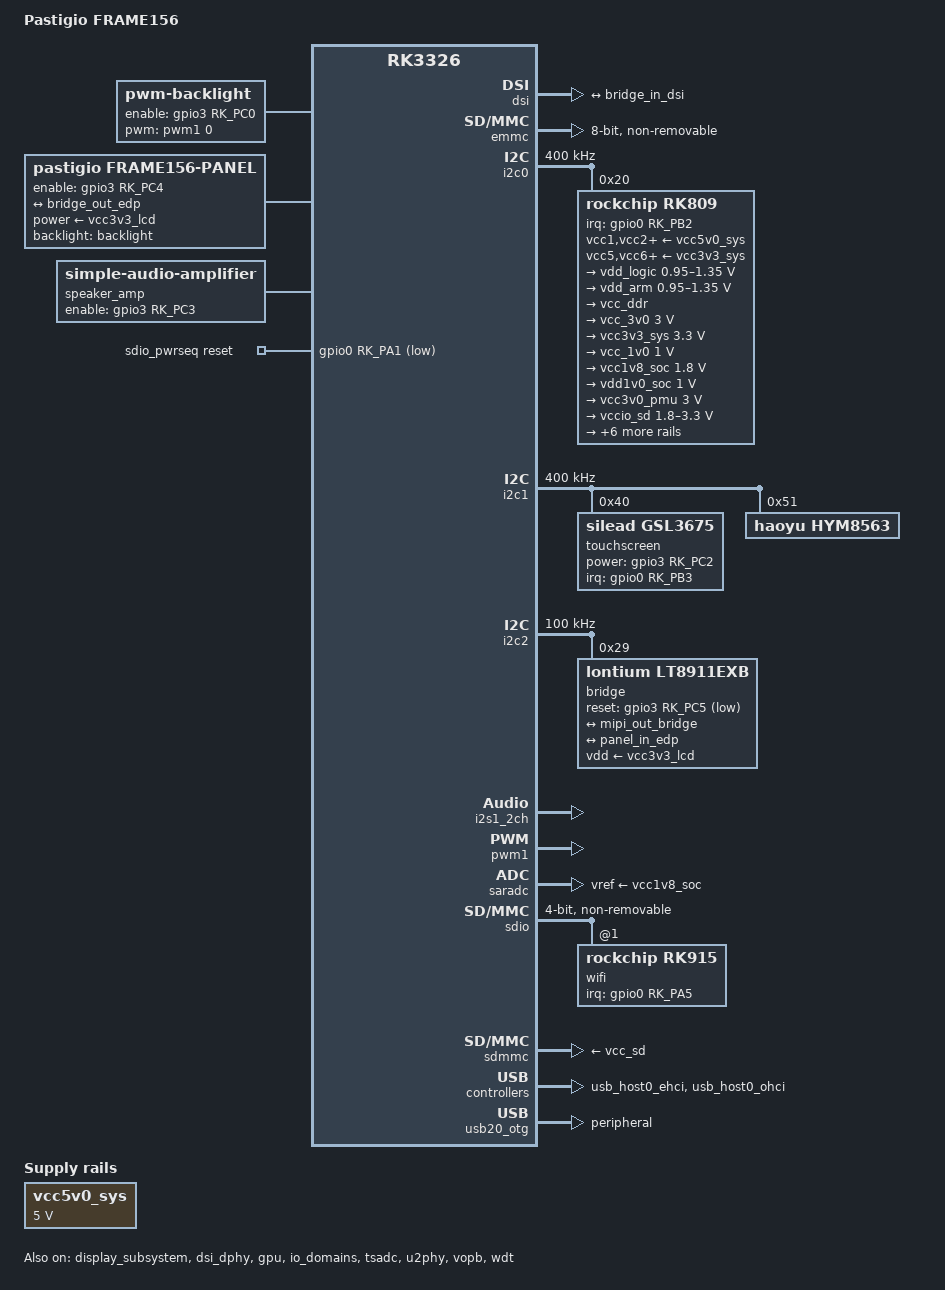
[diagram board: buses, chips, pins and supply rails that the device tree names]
// SPDX-License-Identifier: (GPL-2.0+ OR MIT)
/*
 * Pastigio FRAME156 15.6" photo frame (Frameo), RK3326.
 *
 * Derived from the stock Android device tree (see docs/hardware.md) and
 * the upstream rk3326-odroid-go board files.
 *
 * Bring-up notes:
 * - eMMC is limited to high speed (no HS200) until HS200 is verified.
 * - The display is DSI -> Lontium LT8911EXB (our driver, patch 0005) ->
 *   eDP panel (panel-edp, patch 0001). The bridge must be programmed with
 *   the DSI host's own timings. vcc3v3_lcd stays on while bring-up
 *   continues.
 * - The gpioN aliases are needed by the vendor U-Boot's PMIC driver when
 *   it runs from this device tree (recovery test images).
 * - ramoops matches the stock Android layout exactly, so Android can read
 *   back a failed boot's log from /sys/fs/pstore.
 */

/dts-v1/;
#include <dt-bindings/gpio/gpio.h>
#include <dt-bindings/interrupt-controller/irq.h>
#include <dt-bindings/pinctrl/rockchip.h>
#include "rockchip/rk3326.dtsi"

/ {
	model = "Pastigio FRAME156";
	compatible = "pastigio,frame156", "rockchip,rk3326";

	aliases {
		/*
		 * The vendor U-Boot finds GPIO controllers by "gpioN" in the
		 * node name or aliases. Mainline names them gpio@..., so
		 * without these its PMIC driver fails to probe whenever it
		 * runs from this DTB (and it then drops into download mode).
		 */
		gpio0 = &gpio0;
		gpio1 = &gpio1;
		gpio2 = &gpio2;
		gpio3 = &gpio3;
		mmc0 = &emmc;
		mmc1 = &sdmmc;
		mmc2 = &sdio;
		rtc0 = &hym8563;
	};

	chosen {
	};

	reserved-memory {
		#address-cells = <2>;
		#size-cells = <2>;
		ranges;

		/* Same location and layout as stock Android's ramoops */
		ramoops@110000 {
			compatible = "ramoops";
			reg = <0x0 0x00110000 0x0 0xf0000>;
			record-size = <0x20000>;
			console-size = <0x80000>;
			pmsg-size = <0x50000>;
		};

		/* U-Boot's boot logo buffer (1920x1080 24-bpp BMP) */
		drm_logo: framebuffer@3df00000 {
			reg = <0x0 0x3df00000 0x0 0x600000>;
			no-map;
		};
	};

	backlight: backlight {
		compatible = "pwm-backlight";
		pwms = <&pwm1 0 1000000 0>;
		enable-gpios = <&gpio3 RK_PC0 GPIO_ACTIVE_HIGH>;
		brightness-levels = <0 255>;
		num-interpolated-steps = <255>;
		default-brightness-level = <200>;
	};

	/* 15.6" 1920x1080 eDP panel behind the LT8911EXB */
	panel {
		compatible = "pastigio,frame156-panel";
		backlight = <&backlight>;
		power-supply = <&vcc3v3_lcd>;
		/* Panel standby (STBYB), high = running */
		enable-gpios = <&gpio3 RK_PC4 GPIO_ACTIVE_HIGH>;
		no-hpd;

		port {
			panel_in_edp: endpoint {
				remote-endpoint = <&bridge_out_edp>;
			};
		};
	};

	/*
	 * The RK809 headphone outputs feed an external speaker amplifier
	 * (stock: use-ext-amplifier, spk-ctl-gpios).
	 */
	rk809-sound {
		compatible = "simple-audio-card";
		simple-audio-card,name = "rk809";
		simple-audio-card,format = "i2s";
		simple-audio-card,mclk-fs = <256>;
		simple-audio-card,aux-devs = <&speaker_amp>;
		simple-audio-card,widgets =
			"Microphone", "Mic Jack",
			"Speaker", "Speaker";
		simple-audio-card,routing =
			"MICL", "Mic Jack",
			"Speaker Amplifier INL", "HPOL",
			"Speaker Amplifier INR", "HPOR",
			"Speaker", "Speaker Amplifier OUTL",
			"Speaker", "Speaker Amplifier OUTR";

		simple-audio-card,codec {
			sound-dai = <&rk809>;
		};

		simple-audio-card,cpu {
			sound-dai = <&i2s1_2ch>;
		};
	};

	speaker_amp: audio-amplifier {
		compatible = "simple-audio-amplifier";
		enable-gpios = <&gpio3 RK_PC3 GPIO_ACTIVE_HIGH>;
		pinctrl-names = "default";
		pinctrl-0 = <&spk_ctl>;
		sound-name-prefix = "Speaker Amplifier";
	};

	sdio_pwrseq: sdio-pwrseq {
		compatible = "mmc-pwrseq-simple";
		clocks = <&rk809 1>;
		clock-names = "ext_clock";
		pinctrl-names = "default";
		pinctrl-0 = <&wifi_enable_h>;
		post-power-on-delay-ms = <100>;
		/* Wi-Fi power enable (stock WIFI,poweren_gpio), high = on */
		reset-gpios = <&gpio0 RK_PA1 GPIO_ACTIVE_LOW>;
	};

	vcc5v0_sys: regulator-vcc5v0-sys {
		compatible = "regulator-fixed";
		regulator-name = "vcc5v0_sys";
		regulator-always-on;
		regulator-boot-on;
		regulator-min-microvolt = <5000000>;
		regulator-max-microvolt = <5000000>;
	};
};

&cpu0 {
	cpu-supply = <&vdd_arm>;
};

&cpu1 {
	cpu-supply = <&vdd_arm>;
};

&cpu2 {
	cpu-supply = <&vdd_arm>;
};

&cpu3 {
	cpu-supply = <&vdd_arm>;
};

&display_subsystem {
	status = "okay";
};

&dsi {
	#address-cells = <1>;
	#size-cells = <0>;
	status = "okay";

	ports {
		mipi_out: port@1 {
			reg = <1>;

			mipi_out_bridge: endpoint {
				remote-endpoint = <&bridge_in_dsi>;
			};
		};
	};
};

&dsi_dphy {
	status = "okay";
};

&emmc {
	bus-width = <8>;
	cap-mmc-highspeed;
	no-sd;
	no-sdio;
	non-removable;
	status = "okay";
};

&gpu {
	mali-supply = <&vdd_logic>;
	status = "okay";
};

&i2c0 {
	clock-frequency = <400000>;
	status = "okay";

	rk809: pmic@20 {
		compatible = "rockchip,rk809";
		reg = <0x20>;
		interrupt-parent = <&gpio0>;
		interrupts = <RK_PB2 IRQ_TYPE_LEVEL_LOW>;
		clock-output-names = "rk808-clkout1", "rk808-clkout2";
		/* Codec master clock from I2S1 */
		clocks = <&cru SCLK_I2S1_OUT>;
		clock-names = "mclk";
		pinctrl-names = "default";
		pinctrl-0 = <&pmic_int>, <&i2s1_2ch_mclk>;
		system-power-controller;
		/* restart through PSCI so the reboot mode flag survives */
		rockchip,no-pmic-restart;
		wakeup-source;
		#clock-cells = <1>;
		#sound-dai-cells = <0>;

		vcc1-supply = <&vcc5v0_sys>;
		vcc2-supply = <&vcc5v0_sys>;
		vcc3-supply = <&vcc5v0_sys>;
		vcc4-supply = <&vcc5v0_sys>;
		vcc5-supply = <&vcc3v3_sys>;
		vcc6-supply = <&vcc3v3_sys>;
		vcc7-supply = <&vcc3v3_sys>;
		vcc8-supply = <&vcc3v3_sys>;
		vcc9-supply = <&vcc5v0_sys>;

		regulators {
			vdd_logic: DCDC_REG1 {
				regulator-name = "vdd_logic";
				regulator-min-microvolt = <950000>;
				regulator-max-microvolt = <1350000>;
				regulator-ramp-delay = <6001>;
				regulator-always-on;
				regulator-boot-on;

				regulator-state-mem {
					regulator-on-in-suspend;
					regulator-suspend-microvolt = <950000>;
				};
			};

			vdd_arm: DCDC_REG2 {
				regulator-name = "vdd_arm";
				regulator-min-microvolt = <950000>;
				regulator-max-microvolt = <1350000>;
				regulator-ramp-delay = <6001>;
				regulator-always-on;
				regulator-boot-on;

				regulator-state-mem {
					regulator-off-in-suspend;
					regulator-suspend-microvolt = <950000>;
				};
			};

			vcc_ddr: DCDC_REG3 {
				regulator-name = "vcc_ddr";
				regulator-always-on;
				regulator-boot-on;

				regulator-state-mem {
					regulator-on-in-suspend;
				};
			};

			vcc_3v0: DCDC_REG4 {
				regulator-name = "vcc_3v0";
				regulator-min-microvolt = <3000000>;
				regulator-max-microvolt = <3000000>;
				regulator-always-on;
				regulator-boot-on;

				regulator-state-mem {
					regulator-off-in-suspend;
					regulator-suspend-microvolt = <3000000>;
				};
			};

			vcc3v3_sys: DCDC_REG5 {
				regulator-name = "vcc3v3_sys";
				regulator-min-microvolt = <3300000>;
				regulator-max-microvolt = <3300000>;
				regulator-always-on;
				regulator-boot-on;

				regulator-state-mem {
					regulator-on-in-suspend;
					regulator-suspend-microvolt = <3300000>;
				};
			};

			vcc_1v0: LDO_REG1 {
				regulator-name = "vcc_1v0";
				regulator-min-microvolt = <1000000>;
				regulator-max-microvolt = <1000000>;
				regulator-always-on;
				regulator-boot-on;

				regulator-state-mem {
					regulator-on-in-suspend;
					regulator-suspend-microvolt = <1000000>;
				};
			};

			vcc1v8_soc: LDO_REG2 {
				regulator-name = "vcc1v8_soc";
				regulator-min-microvolt = <1800000>;
				regulator-max-microvolt = <1800000>;
				regulator-always-on;
				regulator-boot-on;

				regulator-state-mem {
					regulator-on-in-suspend;
					regulator-suspend-microvolt = <1800000>;
				};
			};

			vdd1v0_soc: LDO_REG3 {
				regulator-name = "vdd1v0_soc";
				regulator-min-microvolt = <1000000>;
				regulator-max-microvolt = <1000000>;
				regulator-always-on;
				regulator-boot-on;

				regulator-state-mem {
					regulator-on-in-suspend;
					regulator-suspend-microvolt = <1000000>;
				};
			};

			vcc3v0_pmu: LDO_REG4 {
				regulator-name = "vcc3v0_pmu";
				regulator-min-microvolt = <3000000>;
				regulator-max-microvolt = <3000000>;
				regulator-always-on;
				regulator-boot-on;

				regulator-state-mem {
					regulator-on-in-suspend;
					regulator-suspend-microvolt = <3000000>;
				};
			};

			vccio_sd: LDO_REG5 {
				regulator-name = "vccio_sd";
				regulator-min-microvolt = <1800000>;
				regulator-max-microvolt = <3300000>;
				regulator-always-on;
				regulator-boot-on;

				regulator-state-mem {
					regulator-on-in-suspend;
					regulator-suspend-microvolt = <3300000>;
				};
			};

			vcc_sd: LDO_REG6 {
				regulator-name = "vcc_sd";
				regulator-min-microvolt = <3300000>;
				regulator-max-microvolt = <3300000>;
				regulator-always-on;
				regulator-boot-on;

				regulator-state-mem {
					regulator-on-in-suspend;
					regulator-suspend-microvolt = <3300000>;
				};
			};

			vcc2v8_dvp: LDO_REG7 {
				regulator-name = "vcc2v8_dvp";
				regulator-min-microvolt = <2800000>;
				regulator-max-microvolt = <2800000>;
				regulator-always-on;
				regulator-boot-on;

				regulator-state-mem {
					regulator-off-in-suspend;
				};
			};

			vcc1v8_dvp: LDO_REG8 {
				regulator-name = "vcc1v8_dvp";
				regulator-min-microvolt = <1800000>;
				regulator-max-microvolt = <1800000>;
				regulator-always-on;
				regulator-boot-on;

				regulator-state-mem {
					regulator-on-in-suspend;
					regulator-suspend-microvolt = <1800000>;
				};
			};

			lcd_vio: LDO_REG9 {
				regulator-name = "lcd_vio";
				regulator-min-microvolt = <1850000>;
				regulator-max-microvolt = <1850000>;
				regulator-always-on;
				regulator-boot-on;
			};

			vcc5v0_host: SWITCH_REG1 {
				regulator-name = "vcc5v0_host";
			};

			/* Powers the LT8911EXB; see the note at the top */
			vcc3v3_lcd: SWITCH_REG2 {
				regulator-name = "vcc3v3_lcd";
				regulator-always-on;
				regulator-boot-on;
			};
		};

		rk809_codec: codec {
			rockchip,mic-in-differential;
		};
	};
};

&i2c1 {
	clock-frequency = <400000>;
	status = "okay";

	/*
	 * Silead GSL3676 (stock gslX680 driver, Kingvina_FG1509_2_GSL3676_HuiY).
	 * The firmware comes from the stock kernel. The chip reports raw sensor
	 * units (28 x 64 by 18 x 64), and the stock driver flipped both axes.
	 * The stock DT's ilitek@41 shares the reset pin and isn't fitted.
	 */
	touchscreen@40 {
		compatible = "silead,gsl3675";
		reg = <0x40>;
		interrupt-parent = <&gpio0>;
		interrupts = <RK_PB3 IRQ_TYPE_LEVEL_HIGH>;
		power-gpios = <&gpio3 RK_PC2 GPIO_ACTIVE_HIGH>;
		pinctrl-names = "default";
		pinctrl-0 = <&tp_gpio>;
		firmware-name = "gsl3676.fw";
		touchscreen-size-x = <1792>;
		touchscreen-size-y = <1152>;
		touchscreen-inverted-x;
		touchscreen-inverted-y;
	};

	hym8563: rtc@51 {
		compatible = "haoyu,hym8563";
		reg = <0x51>;
		#clock-cells = <0>;
		clock-output-names = "hym8563";
	};
};

&i2c2 {
	clock-frequency = <100000>;
	status = "okay";

	bridge@29 {
		compatible = "lontium,lt8911exb";
		reg = <0x29>;
		reset-gpios = <&gpio3 RK_PC5 GPIO_ACTIVE_LOW>;
		vdd-supply = <&vcc3v3_lcd>;

		ports {
			#address-cells = <1>;
			#size-cells = <0>;

			port@0 {
				reg = <0>;

				bridge_in_dsi: endpoint {
					remote-endpoint = <&mipi_out_bridge>;
					data-lanes = <1 2 3 4>;
				};
			};

			port@1 {
				reg = <1>;

				bridge_out_edp: endpoint {
					remote-endpoint = <&panel_in_edp>;
					data-lanes = <0 1>;
				};
			};
		};
	};
};

&i2s1_2ch {
	/*
	 * The I2S1 fractional divider runs far too slow when fed 1.2 GHz
	 * straight from GPLL (playback stalls); from 600 MHz it's exact.
	 */
	assigned-clocks = <&cru SCLK_I2S1_SRC>;
	assigned-clock-rates = <600000000>;
	status = "okay";
};

&io_domains {
	vccio1-supply = <&vcc_3v0>;
	vccio2-supply = <&vccio_sd>;
	vccio3-supply = <&vcc1v8_dvp>;
	vccio4-supply = <&vcc_3v0>;
	vccio5-supply = <&vcc_3v0>;
	status = "okay";
};

&pmu_io_domains {
	pmuio1-supply = <&vcc3v0_pmu>;
	pmuio2-supply = <&vcc3v0_pmu>;
	status = "okay";
};

&pmugrf {
	reboot-mode {
		/* Vendor U-Boot exposes the eMMC as USB mass storage */
		mode-ums = <0x5242c30c>;
	};
};

&pwm1 {
	status = "okay";
};

&saradc {
	vref-supply = <&vcc1v8_soc>;
	status = "okay";
};

&sdio {
	#address-cells = <1>;
	#size-cells = <0>;
	bus-width = <4>;
	cap-sd-highspeed;
	cap-sdio-irq;
	keep-power-in-suspend;
	max-frequency = <50000000>;
	mmc-pwrseq = <&sdio_pwrseq>;
	non-removable;
	no-sd;
	no-mmc;
	status = "okay";

	/*
	 * RK915 Wi-Fi (SDIO ID 0296:5348), out-of-tree driver (package/rk915).
	 * The compatible also selects its MMC quirks (patch 0008).
	 */
	wifi@1 {
		compatible = "rockchip,rk915";
		reg = <1>;
		interrupt-parent = <&gpio0>;
		interrupts = <RK_PA5 IRQ_TYPE_LEVEL_HIGH>;
		interrupt-names = "host-wake";
		pinctrl-names = "default";
		pinctrl-0 = <&wifi_host_wake_l>;
	};
};

&sdmmc {
	cap-sd-highspeed;
	card-detect-delay = <800>;
	vmmc-supply = <&vcc_sd>;
	vqmmc-supply = <&vccio_sd>;
	status = "okay";
};

&tsadc {
	status = "okay";
};

&u2phy {
	status = "okay";

	u2phy_host: host-port {
		phy-supply = <&vcc5v0_host>;
		status = "okay";
	};

	u2phy_otg: otg-port {
		status = "okay";
	};
};

/* USB-A host port */
&usb_host0_ehci {
	status = "okay";
};

&usb_host0_ohci {
	status = "okay";
};

/* USB-C: device only (gadget networking and serial console) */
&usb20_otg {
	dr_mode = "peripheral";
	status = "okay";
};

&vopb {
	status = "okay";
};

&vopb_mmu {
	status = "okay";
};

&wdt {
	status = "okay";
};

&pinctrl {
	pmic {
		pmic_int: pmic-int {
			rockchip,pins = <0 RK_PB2 RK_FUNC_GPIO &pcfg_pull_up>;
		};
	};

	audio {
		spk_ctl: spk-ctl {
			rockchip,pins = <3 RK_PC3 RK_FUNC_GPIO &pcfg_pull_none>;
		};
	};

	tp {
		tp_gpio: tp-gpio {
			rockchip,pins = <0 RK_PB3 RK_FUNC_GPIO &pcfg_pull_up>,
					<3 RK_PC2 RK_FUNC_GPIO &pcfg_pull_none>;
		};
	};

	sdio-pwrseq {
		wifi_enable_h: wifi-enable-h {
			rockchip,pins = <0 RK_PA1 RK_FUNC_GPIO &pcfg_pull_none>;
		};

		wifi_host_wake_l: wifi-host-wake-l {
			rockchip,pins = <0 RK_PA5 RK_FUNC_GPIO &pcfg_pull_down>;
		};
	};
};
